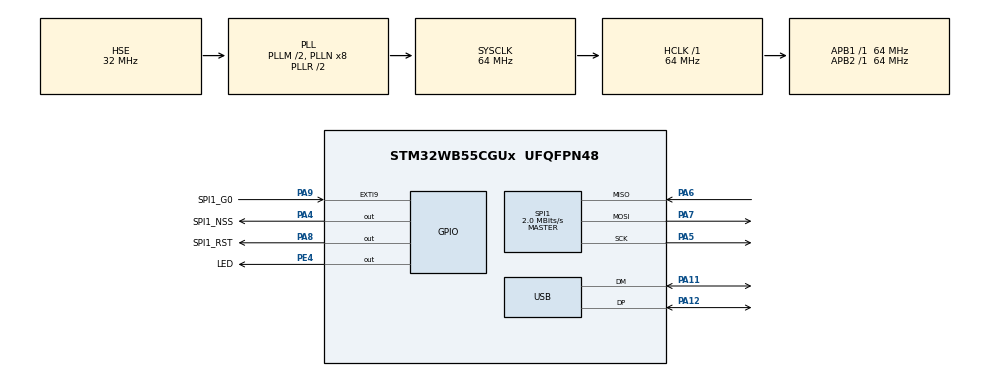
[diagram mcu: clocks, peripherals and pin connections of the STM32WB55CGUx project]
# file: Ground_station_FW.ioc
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Mcu.Family=STM32WB
Mcu.Name=STM32WB55CGUx
Mcu.Package=UFQFPN48
NVIC.EXTI9_5_IRQn=true\:0\:0\:false\:false\:true\:true\:true\:true
NVIC.HSEM_IRQn=true\:0\:0\:false\:false\:true\:false\:true\:true
NVIC.IPCC_C1_RX_IRQn=true\:0\:0\:false\:false\:true\:true\:true\:true
NVIC.IPCC_C1_TX_IRQn=true\:0\:0\:false\:false\:true\:true\:true\:true
NVIC.PriorityGroup=NVIC_PRIORITYGROUP_4
NVIC.RTC_WKUP_IRQn=true\:0\:0\:false\:false\:true\:true\:true\:true
NVIC.USB_LP_IRQn=true\:0\:0\:false\:false\:true\:false\:true\:true
OSC_IN.Mode=HSE-External-Oscillator
OSC_IN.Signal=RCC_OSC_IN
OSC_OUT.Mode=HSE-External-Oscillator
OSC_OUT.Signal=RCC_OSC_OUT
PA11.Mode=Device
PA11.Signal=USB_DM
PA12.Mode=Device
PA12.Signal=USB_DP
PA13.Mode=Serial_Wire
PA13.Signal=SYS_JTMS-SWDIO
PA14.Mode=Serial_Wire
PA14.Signal=SYS_JTCK-SWCLK
PA4.GPIO_Label=SPI1_NSS
PA4.GPIO_ModeDefaultOutputPP=GPIO_MODE_OUTPUT_PP
PA4.GPIO_PuPd=GPIO_NOPULL
PA4.GPIO_Speed=GPIO_SPEED_FREQ_VERY_HIGH
PA4.PinState=GPIO_PIN_SET
PA4.Signal=GPIO_Output
PA5.Mode=Full_Duplex_Master
PA5.Signal=SPI1_SCK
PA6.Mode=Full_Duplex_Master
PA6.Signal=SPI1_MISO
PA7.GPIO_Speed=GPIO_SPEED_FREQ_HIGH
PA7.Mode=Full_Duplex_Master
PA7.Signal=SPI1_MOSI
PA8.GPIO_Label=SPI1_RST
PA8.GPIO_ModeDefaultOutputPP=GPIO_MODE_OUTPUT_PP
PA8.GPIO_PuPd=GPIO_NOPULL
PA8.GPIO_Speed=GPIO_SPEED_FREQ_VERY_HIGH
PA8.PinState=GPIO_PIN_SET
PA8.Signal=GPIO_Output
PA9.GPIO_Label=SPI1_G0
PA9.Signal=GPXTI9
PC14-OSC32_IN.Mode=LSE-External-Oscillator
PC14-OSC32_IN.Signal=RCC_OSC32_IN
PC15-OSC32_OUT.Mode=LSE-External-Oscillator
PC15-OSC32_OUT.Signal=RCC_OSC32_OUT
PE4.GPIO_Label=LED
PE4.PinState=GPIO_PIN_SET
PE4.Signal=GPIO_Output
ProjectManager.HeapSize=0x400
ProjectManager.StackSize=0x400
ProjectManager.TargetToolchain=Makefile
RCC.ADCFreq_Value=64000000
RCC.AHB2CLKDivider=RCC_SYSCLK_DIV2
RCC.AHBFreq_Value=64000000
RCC.APB1Freq_Value=64000000
RCC.APB1TimFreq_Value=64000000
RCC.APB2Freq_Value=64000000
RCC.APB2TimFreq_Value=64000000
RCC.APB3Freq_Value=16000000
RCC.CK48CLockSelection=RCC_USBCLKSOURCE_HSI48
RCC.CortexFreq_Value=64000000
RCC.HCLKFreq_Value=64000000
RCC.HSE_VALUE=32000000
RCC.HSI48_VALUE=48000000
RCC.HSI_VALUE=16000000
RCC.PLLM=RCC_PLLM_DIV2
RCC.PLLSourceVirtual=RCC_PLLSOURCE_HSE
RCC.RTCClockSelection=RCC_RTCCLKSOURCE_LSE
RCC.SYSCLKFreq_VALUE=64000000
RCC.SYSCLKSource=RCC_SYSCLKSOURCE_PLLCLK
RCC.USBFreq_Value=48000000
RCC.VCOOutputFreq_Value=128000000
RF1.Mode=RF1_Activate
RF1.Signal=RF_RF1
SPI1.BaudRatePrescaler=SPI_BAUDRATEPRESCALER_32
SPI1.CalculateBaudRate=2.0 MBits/s
SPI1.DataSize=SPI_DATASIZE_8BIT
SPI1.Direction=SPI_DIRECTION_2LINES
SPI1.Mode=SPI_MODE_MASTER
SPI1.VirtualType=VM_MASTER
STM32_WPAN.AD_TYPE_COMPLETE_LOCAL_NAME=VERTEX
STM32_WPAN.AD_TYPE_COMPLETE_LOCAL_NAME_LENGTH=7
STM32_WPAN.CFG_GAP_DEVICE_NAME=TEMPLATE
STM32_WPAN.CFG_LSCLK_LSE=0
STM32_WPAN.CUSTOM_P2P_SERVER=Disabled
STM32_WPAN.CUSTOM_TEMPLATE=Enabled
STM32_WPAN.INCLUDE_AD_TYPE_COMPLETE_LOCAL_NAME=1
STM32_WPAN.NUMBER_OF_SERVICES=1
STM32_WPAN.SERVICE1_CHAR1_GATT_NOTIFY_READ_REQ_AND_WAIT_FOR_APPL_RESP=\ 
STM32_WPAN.SERVICE1_CHAR1_GATT_NOTIFY_WRITE_REQ_AND_WAIT_FOR_APPL_RESP=\ 
STM32_WPAN.SERVICE1_CHAR1_LONG_NAME=TEL_EN
STM32_WPAN.SERVICE1_CHAR1_PROP_WRITE=CHAR_PROP_WRITE
STM32_WPAN.SERVICE1_CHAR1_SHORT_NAME=TEL_EN
STM32_WPAN.SERVICE1_LONG_NAME=Telemetry
STM32_WPAN.SERVICE1_SHORT_NAME=TEL
USB_DEVICE.CLASS_NAME_FS=CDC
USB_DEVICE.PRODUCT_STRING_CDC_FS=VERTEX
USB_DEVICE.VirtualMode=Cdc
USB_DEVICE.VirtualModeFS=Cdc_FS
VP_HSEM_VS_HSEM.Mode=HSEM_Activate
VP_IPCC_VS_IPCC.Mode=IPCC_Activate
VP_MEMORYMAP_VS_MEMORYMAP.Mode=CurAppReg
VP_RTC_VS_RTC_Activate.Mode=RTC_Enabled
VP_RTC_VS_RTC_WakeUp_intern.Mode=WakeUp
VP_SEQUENCER_VS_SEQUENCER.Mode=SEQUENCER_Enabled
VP_STM32_WPAN_VS_BLE_HOST.Mode=STM32_WPAN_Enabled
VP_TINY_LPM_VS_TINY_LPM.Mode=TINY_LPM_Enabled
VP_USB_DEVICE_VS_USB_DEVICE_CDC_FS.Mode=CDC_FS
board=custom

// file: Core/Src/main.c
/* USER CODE BEGIN Header */
/**
  ******************************************************************************
  * @file           : main.c
  * @brief          : Main program body
  ******************************************************************************
  * @attention
  *
  * Copyright (c) 2026 STMicroelectronics.
  * All rights reserved.
  *
  * This software is licensed under terms that can be found in the LICENSE file
  * in the root directory of this software component.
  * If no LICENSE file comes with this software, it is provided AS-IS.
  *
  ******************************************************************************
  */
/* USER CODE END Header */
#include "main.h"
#include "usb_device.h"

/* USER CODE BEGIN Includes */
#include "SX1278.h"
#include "usbd_cdc_if.h"
#include "stdint.h"
/* USER CODE END Includes */

/* USER CODE BEGIN PTD */
typedef struct __attribute__((packed)) {
    float altitude;           // 4 bytes
    int16_t accel;            // 2 bytes (cm/s^2)
    int16_t speed;            // 2 bytes (cm/s)
    int16_t pitch, roll, yaw; // 6 bytes (DEG*10)
    uint8_t flight_state;     // 1 byte
    uint32_t timestamp;       // 4 bytes
    int8_t RSSI;              // 1 byte (locally calculated)
} TelemetryData_t; // Total: 20 bytes (MAX for BLE packet is 20 bytes)
/* USER CODE END PTD */

IPCC_HandleTypeDef hipcc;

RTC_HandleTypeDef hrtc;

SPI_HandleTypeDef hspi1;

/* USER CODE BEGIN PV */
SX1278_hw_t SX1278_hw;
SX1278_t SX1278;

int master;
int ret;

char buffer[512];

int message;
int message_length;
/* USER CODE END PV */

void SystemClock_Config(void);
void PeriphCommonClock_Config(void);
static void MX_GPIO_Init(void);
static void MX_IPCC_Init(void);
static void MX_RTC_Init(void);
static void MX_SPI1_Init(void);
static void MX_RF_Init(void);

int main(void)
{

  /* MCU Configuration--------------------------------------------------------*/

  /* Reset of all peripherals, Initializes the Flash interface and the Systick. */
  HAL_Init();
  /* Config code for STM32_WPAN (HSE Tuning must be done before system clock configuration) */
  MX_APPE_Config();

  /* Configure the system clock */
  SystemClock_Config();

  /* Configure the peripherals common clocks */
  PeriphCommonClock_Config();

  /* IPCC initialisation */
  MX_IPCC_Init();

  /* USER CODE BEGIN SysInit */
  LL_HSEM_1StepLock(HSEM, 5 );
  /* USER CODE END SysInit */

  /* Initialize all configured peripherals */
  MX_GPIO_Init();
  MX_RTC_Init();
  MX_SPI1_Init();
  MX_USB_Device_Init();
  MX_RF_Init();
  /* USER CODE BEGIN 2 */
  SX1278_hw.dio0.port = SPI1_G0_GPIO_Port;
	SX1278_hw.dio0.pin = SPI1_G0_Pin;
	SX1278_hw.nss.port = SPI1_NSS_GPIO_Port;
	SX1278_hw.nss.pin = SPI1_NSS_Pin;
	SX1278_hw.reset.port = SPI1_RST_GPIO_Port;
	SX1278_hw.reset.pin = SPI1_RST_Pin;
	SX1278_hw.spi = &hspi1;

	SX1278.hw = &SX1278_hw;

	SX1278_init(&SX1278, 433000000, SX1278_POWER_17DBM, SX1278_LORA_SF_7,
	SX1278_LORA_BW_250KHZ, SX1278_LORA_CR_4_5, SX1278_LORA_CRC_DIS, 10);

  ret = SX1278_LoRaEntryRx(&SX1278, 16, 2000);
  HAL_GPIO_WritePin(LED_GPIO_Port, LED_Pin, ret);

  /* USER CODE END 2 */

  /* Init code for STM32_WPAN */
  MX_APPE_Init();

  /* Infinite loop */
  /* USER CODE BEGIN WHILE */
  while (1)
  {
    if (message) {
      ret = SX1278_LoRaRxPacket(&SX1278);
			if (ret > 0) {
				SX1278_read(&SX1278, (uint8_t*) buffer, ret);
        HAL_GPIO_TogglePin(LED_GPIO_Port, LED_Pin);

        // buffer[19] = SX1278_RSSI(&SX1278); // Append RSSI to the end of the buffer

        char hex_log[256]; // (21 bytes * 2 chars) + 2 for \r\n + 1 for null = 45
        int pos = 0;
        uint8_t *byte_ptr = (uint8_t *)&buffer;

        for (int i = 0; i < ret; i++) {
            pos += sprintf(&hex_log[pos], "%02X ", byte_ptr[i]);
        }
        sprintf(&hex_log[pos], "\r\n");

        CDC_Transmit_FS((uint8_t*) hex_log, strlen(hex_log));
			}
    }
    /* USER CODE END WHILE */
    MX_APPE_Process();

  }
}

void SystemClock_Config(void)
{
  RCC_OscInitTypeDef RCC_OscInitStruct = {0};
  RCC_ClkInitTypeDef RCC_ClkInitStruct = {0};

  /** Configure LSE Drive Capability
  */
  HAL_PWR_EnableBkUpAccess();
  __HAL_RCC_LSEDRIVE_CONFIG(RCC_LSEDRIVE_MEDIUMHIGH);

  /** Configure the main internal regulator output voltage
  */
  __HAL_PWR_VOLTAGESCALING_CONFIG(PWR_REGULATOR_VOLTAGE_SCALE1);

  /** Initializes the RCC Oscillators according to the specified parameters
  * in the RCC_OscInitTypeDef structure.
  */
  RCC_OscInitStruct.OscillatorType = RCC_OSCILLATORTYPE_HSI48|RCC_OSCILLATORTYPE_HSI
                              |RCC_OSCILLATORTYPE_HSE|RCC_OSCILLATORTYPE_LSE;
  RCC_OscInitStruct.HSEState = RCC_HSE_ON;
  RCC_OscInitStruct.LSEState = RCC_LSE_ON;
  RCC_OscInitStruct.HSIState = RCC_HSI_ON;
  RCC_OscInitStruct.HSI48State = RCC_HSI48_ON;
  RCC_OscInitStruct.HSICalibrationValue = RCC_HSICALIBRATION_DEFAULT;
  RCC_OscInitStruct.PLL.PLLState = RCC_PLL_ON;
  RCC_OscInitStruct.PLL.PLLSource = RCC_PLLSOURCE_HSE;
  RCC_OscInitStruct.PLL.PLLM = RCC_PLLM_DIV2;
  RCC_OscInitStruct.PLL.PLLN = 8;
  RCC_OscInitStruct.PLL.PLLP = RCC_PLLP_DIV2;
  RCC_OscInitStruct.PLL.PLLR = RCC_PLLR_DIV2;
  RCC_OscInitStruct.PLL.PLLQ = RCC_PLLQ_DIV2;
  if (HAL_RCC_OscConfig(&RCC_OscInitStruct) != HAL_OK)
  {
    Error_Handler();
  }

  /** Configure the SYSCLKSource, HCLK, PCLK1 and PCLK2 clocks dividers
  */
  RCC_ClkInitStruct.ClockType = RCC_CLOCKTYPE_HCLK4|RCC_CLOCKTYPE_HCLK2
                              |RCC_CLOCKTYPE_HCLK|RCC_CLOCKTYPE_SYSCLK
                              |RCC_CLOCKTYPE_PCLK1|RCC_CLOCKTYPE_PCLK2;
  RCC_ClkInitStruct.SYSCLKSource = RCC_SYSCLKSOURCE_PLLCLK;
  RCC_ClkInitStruct.AHBCLKDivider = RCC_SYSCLK_DIV1;
  RCC_ClkInitStruct.APB1CLKDivider = RCC_HCLK_DIV1;
  RCC_ClkInitStruct.APB2CLKDivider = RCC_HCLK_DIV1;
  RCC_ClkInitStruct.AHBCLK2Divider = RCC_SYSCLK_DIV2;
  RCC_ClkInitStruct.AHBCLK4Divider = RCC_SYSCLK_DIV1;

  if (HAL_RCC_ClockConfig(&RCC_ClkInitStruct, FLASH_LATENCY_3) != HAL_OK)
  {
    Error_Handler();
  }
}

void PeriphCommonClock_Config(void)
{
  RCC_PeriphCLKInitTypeDef PeriphClkInitStruct = {0};

  /** Initializes the peripherals clock
  */
  PeriphClkInitStruct.PeriphClockSelection = RCC_PERIPHCLK_SMPS|RCC_PERIPHCLK_RFWAKEUP;
  PeriphClkInitStruct.RFWakeUpClockSelection = RCC_RFWKPCLKSOURCE_HSE_DIV1024;
  PeriphClkInitStruct.SmpsClockSelection = RCC_SMPSCLKSOURCE_HSI;
  PeriphClkInitStruct.SmpsDivSelection = RCC_SMPSCLKDIV_RANGE1;

  if (HAL_RCCEx_PeriphCLKConfig(&PeriphClkInitStruct) != HAL_OK)
  {
    Error_Handler();
  }
}

static void MX_IPCC_Init(void)
{

  hipcc.Instance = IPCC;
  if (HAL_IPCC_Init(&hipcc) != HAL_OK)
  {
    Error_Handler();
  }

}

static void MX_RF_Init(void)
{

}

static void MX_RTC_Init(void)
{

  /** Initialize RTC Only
  */
  hrtc.Instance = RTC;
  hrtc.Init.HourFormat = RTC_HOURFORMAT_24;
  hrtc.Init.AsynchPrediv = CFG_RTC_ASYNCH_PRESCALER;
  hrtc.Init.SynchPrediv = CFG_RTC_SYNCH_PRESCALER;
  hrtc.Init.OutPut = RTC_OUTPUT_DISABLE;
  hrtc.Init.OutPutPolarity = RTC_OUTPUT_POLARITY_HIGH;
  hrtc.Init.OutPutType = RTC_OUTPUT_TYPE_OPENDRAIN;
  hrtc.Init.OutPutRemap = RTC_OUTPUT_REMAP_NONE;
  if (HAL_RTC_Init(&hrtc) != HAL_OK)
  {
    Error_Handler();
  }

  /** Enable the WakeUp
  */
  if (HAL_RTCEx_SetWakeUpTimer_IT(&hrtc, 0, RTC_WAKEUPCLOCK_RTCCLK_DIV16) != HAL_OK)
  {
    Error_Handler();
  }

}

static void MX_SPI1_Init(void)
{

  /* SPI1 parameter configuration*/
  hspi1.Instance = SPI1;
  hspi1.Init.Mode = SPI_MODE_MASTER;
  hspi1.Init.Direction = SPI_DIRECTION_2LINES;
  hspi1.Init.DataSize = SPI_DATASIZE_8BIT;
  hspi1.Init.CLKPolarity = SPI_POLARITY_LOW;
  hspi1.Init.CLKPhase = SPI_PHASE_1EDGE;
  hspi1.Init.NSS = SPI_NSS_SOFT;
  hspi1.Init.BaudRatePrescaler = SPI_BAUDRATEPRESCALER_32;
  hspi1.Init.FirstBit = SPI_FIRSTBIT_MSB;
  hspi1.Init.TIMode = SPI_TIMODE_DISABLE;
  hspi1.Init.CRCCalculation = SPI_CRCCALCULATION_DISABLE;
  hspi1.Init.CRCPolynomial = 7;
  hspi1.Init.CRCLength = SPI_CRC_LENGTH_DATASIZE;
  hspi1.Init.NSSPMode = SPI_NSS_PULSE_ENABLE;
  if (HAL_SPI_Init(&hspi1) != HAL_OK)
  {
    Error_Handler();
  }

}

static void MX_GPIO_Init(void)
{
  GPIO_InitTypeDef GPIO_InitStruct = {0};

  /* GPIO Ports Clock Enable */
  __HAL_RCC_GPIOC_CLK_ENABLE();
  __HAL_RCC_GPIOA_CLK_ENABLE();
  __HAL_RCC_GPIOE_CLK_ENABLE();

  /*Configure GPIO pin Output Level */
  HAL_GPIO_WritePin(GPIOA, SPI1_NSS_Pin|SPI1_RST_Pin, GPIO_PIN_SET);

  /*Configure GPIO pin Output Level */
  HAL_GPIO_WritePin(LED_GPIO_Port, LED_Pin, GPIO_PIN_SET);

  /*Configure GPIO pins : SPI1_NSS_Pin SPI1_RST_Pin */
  GPIO_InitStruct.Pin = SPI1_NSS_Pin|SPI1_RST_Pin;
  GPIO_InitStruct.Mode = GPIO_MODE_OUTPUT_PP;
  GPIO_InitStruct.Pull = GPIO_NOPULL;
  GPIO_InitStruct.Speed = GPIO_SPEED_FREQ_VERY_HIGH;
  HAL_GPIO_Init(GPIOA, &GPIO_InitStruct);

  /*Configure GPIO pin : SPI1_G0_Pin */
  GPIO_InitStruct.Pin = SPI1_G0_Pin;
  GPIO_InitStruct.Mode = GPIO_MODE_IT_RISING;
  GPIO_InitStruct.Pull = GPIO_NOPULL;
  HAL_GPIO_Init(SPI1_G0_GPIO_Port, &GPIO_InitStruct);

  /*Configure GPIO pin : LED_Pin */
  GPIO_InitStruct.Pin = LED_Pin;
  GPIO_InitStruct.Mode = GPIO_MODE_OUTPUT_PP;
  GPIO_InitStruct.Pull = GPIO_NOPULL;
  GPIO_InitStruct.Speed = GPIO_SPEED_FREQ_LOW;
  HAL_GPIO_Init(LED_GPIO_Port, &GPIO_InitStruct);

  /* EXTI interrupt init*/
  HAL_NVIC_SetPriority(EXTI9_5_IRQn, 0, 0);
  HAL_NVIC_EnableIRQ(EXTI9_5_IRQn);

}

/* USER CODE BEGIN 4 */
void HAL_GPIO_EXTI_Callback(uint16_t GPIO_Pin) {
  if (GPIO_Pin == SPI1_G0_Pin) {
    message = 1;
  }
}
/* USER CODE END 4 */

void Error_Handler(void)
{
  /* USER CODE BEGIN Error_Handler_Debug */
  /* User can add his own implementation to report the HAL error return state */
  __disable_irq();

  while (1)
  {
    HAL_GPIO_TogglePin(LED_GPIO_Port, LED_Pin);
    for(volatile int i = 0; i < 1000000; i++);
  }
  /* USER CODE END Error_Handler_Debug */
}
